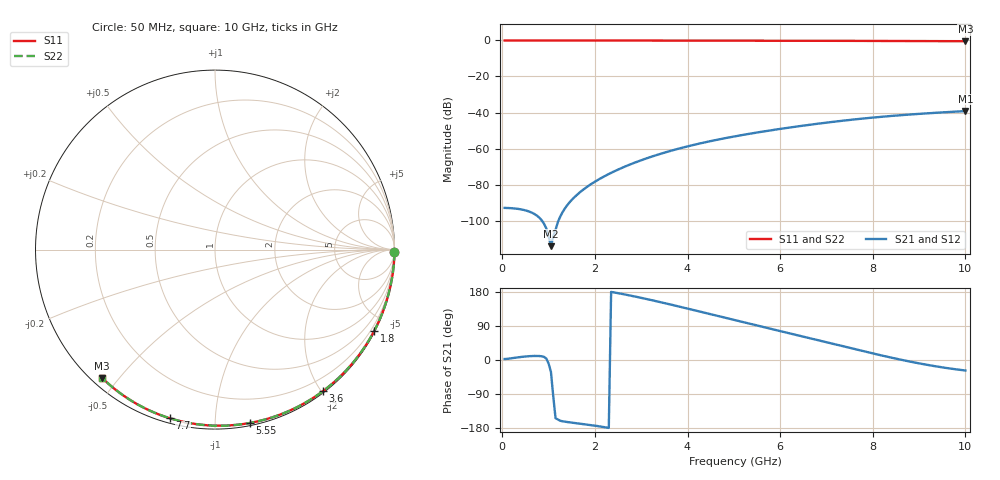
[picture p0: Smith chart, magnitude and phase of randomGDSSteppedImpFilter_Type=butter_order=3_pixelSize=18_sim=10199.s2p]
! freq	dB(S11)	phase(S11)	dB(S12)	phase(S12)
!  dB(S21)	phase(S21)	dB(S22)	phase(S22)
!S-par simulation data
#  GHz  S  DB  R 50
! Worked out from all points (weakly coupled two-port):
!   200 points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, 50 MHz to 10 GHz, reference 50 ohm
!   highest |S21| = -39.19 dB at 10 GHz (marker M1); lowest = -114.2 dB at 1.05 GHz (marker M2)
!   lowest |S11| = -0.4 dB at 10 GHz (marker M3), VSWR 40.92, Z = 1.47 - j22.6 ohm
!   |S11| at or under -10 dB: nowhere
!   |S22| runs from -0.4 to 0.0 dB; largest |S21 - S12| = 0
!   S11 on the Smith chart (normalised r, x): 50 MHz: open; 1.8 GHz: 0.04, -4.18; 3.6 GHz: 0.02, -2.02; 5.55 GHz: 0.02, -1.22; 7.7 GHz: 0.02, -0.77; 10 GHz: 0.03, -0.45
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0.05  -0.00 -0.8  -92.91 2.6  -92.91 2.6  -0.00 -0.8
0.55  -0.01 -8.3  -94.68 9.8  -94.68 9.8  -0.01 -8.3
1.05  -0.02 -15.8  -114.15 -31.0  -114.15 -31.0  -0.02 -15.8
1.75  -0.03 -26.2  -82.74 -169.0  -82.74 -169.0  -0.03 -26.2
1.8  -0.03 -26.9  -81.78 -169.8  -81.78 -169.8  -0.03 -26.9
1.9  -0.04 -28.4  -80.01 -171.5  -80.01 -171.5  -0.04 -28.4
2.05  -0.04 -30.6  -77.60 -174.2  -77.60 -174.2  -0.04 -30.6
2.2  -0.04 -32.8  -75.44 -177.1  -75.44 -177.1  -0.04 -32.8
2.55  -0.05 -37.8  -71.07 175.2  -71.07 175.2  -0.05 -37.8
2.95  -0.06 -43.5  -66.93 165.3  -66.93 165.3  -0.06 -43.5
3.4  -0.07 -49.9  -63.03 153.1  -63.03 153.1  -0.07 -49.9
3.6  -0.07 -52.6  -61.51 147.4  -61.51 147.4  -0.07 -52.6
3.9  -0.08 -56.8  -59.42 138.7  -59.42 138.7  -0.08 -56.8
4.3  -0.09 -62.2  -56.96 126.8  -56.96 126.8  -0.09 -62.2
5.05  -0.11 -72.2  -53.08 104.4  -53.08 104.4  -0.11 -72.2
5.55  -0.13 -78.6  -50.88 89.6  -50.88 89.6  -0.13 -78.6
6.1  -0.15 -85.6  -48.71 73.4  -48.71 73.4  -0.15 -85.6
6.7  -0.18 -93.0  -46.58 55.6  -46.58 55.6  -0.18 -93.0
7.7  -0.24 -105.0  -43.56 26.0  -43.56 26.0  -0.24 -105.0
8.35  -0.29 -112.6  -42.00 7.6  -42.00 7.6  -0.29 -112.6
9.15  -0.35 -121.8  -40.48 -12.3  -40.48 -12.3  -0.35 -121.8
10  -0.42 -131.3  -39.19 -27.7  -39.19 -27.7  -0.42 -131.3
